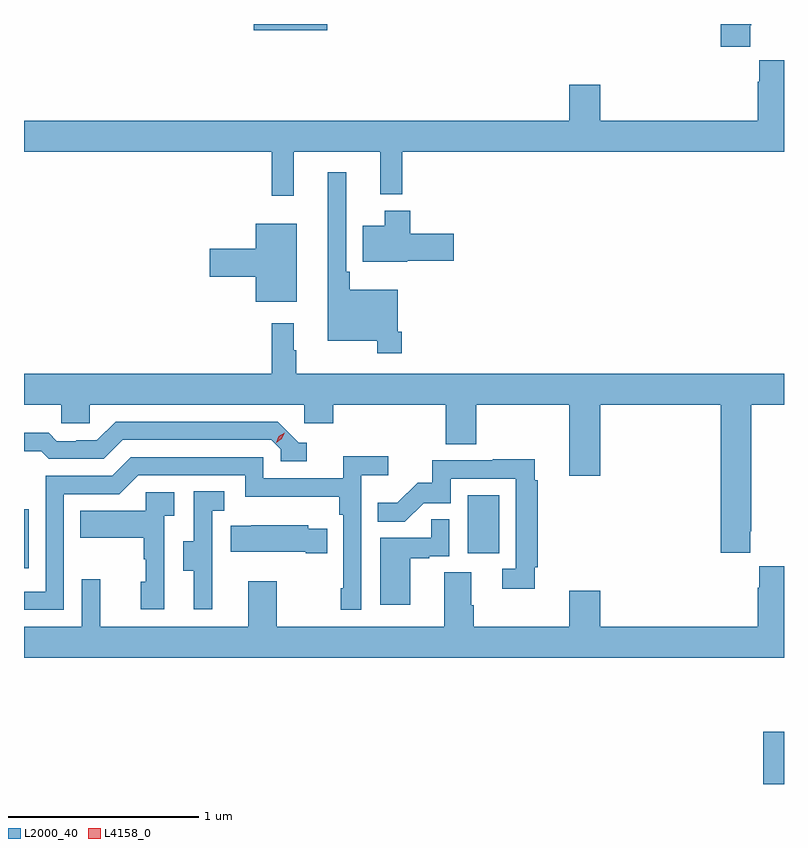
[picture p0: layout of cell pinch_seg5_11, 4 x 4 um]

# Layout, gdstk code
import gdstk
lib = gdstk.Library(unit=1e-6, precision=1e-09)
def R(c, l, rs):  # rectangles x0, y0, x1, y1
    for r in rs: c.add(gdstk.rectangle(r[:2], r[2:], *l))
def P(c, l, *ps):  # polygons
    for p in ps: c.add(gdstk.Polygon(p, *l))
L2000_40 = (2000, 40)
L4158_0 = (4158, 0)

pinch_seg5_11 = lib.new_cell('pinch_seg5_11')
R(pinch_seg5_11, L2000_40, [(1137.056,906.712,1137.166,906.988), (1133.166,907.848,1133.19,908.158), (1135.502,907.926,1135.666,908.233), (1134.374,910.678,1134.763,910.712)])
P(pinch_seg5_11, L2000_40, [(1136.989,910.705),(1136.994,910.705),(1136.994,910.712),(1136.834,910.712),(1136.834,910.593),(1136.989,910.593)],
  [(1134.587,910.04),(1135.04,910.04),(1135.04,909.815),(1135.157,909.815),(1135.157,910.04),(1137.166,910.04),(1137.166,910.522),(1137.035,910.522),(1137.035,910.409),(1137.029,910.409),(1137.029,910.204),(1136.2,910.204),(1136.2,910.393),(1136.036,910.393),(1136.036,910.204),(1133.166,910.204),(1133.166,910.04),(1134.469,910.04),(1134.469,909.807),(1134.587,909.807)],
  [(1135.154,909.091),(1135.134,909.091),(1135.134,909.313),(1134.881,909.313),(1134.881,909.409),(1134.861,909.409),(1134.861,909.931),(1134.764,909.931),(1134.764,909.044),(1135.026,909.044),(1135.026,908.979),(1135.154,908.979)],
  [(1135.182,909.467),(1135.429,909.467),(1135.429,909.609),(1135.199,909.609),(1135.199,909.73),(1135.064,909.73),(1135.064,909.649),(1134.95,909.649),(1134.95,909.461),(1135.182,909.461)],
  [(1134.601,909.661),(1134.386,909.661),(1134.386,909.53),(1134.144,909.53),(1134.144,909.383),(1134.386,909.383),(1134.386,909.251),(1134.601,909.251)],
  [(1134.598,908.996),(1134.586,908.996),(1134.586,909.136),(1134.469,909.136),(1134.469,908.872),(1133.166,908.872),(1133.166,908.708),(1133.361,908.708),(1133.361,908.61),(1133.511,908.61),(1133.511,908.708),(1134.642,908.708),(1134.642,908.61),(1134.794,908.61),(1134.794,908.708),(1135.385,908.708),(1135.385,908.5),(1135.545,908.5),(1135.545,908.708),(1136.036,908.708),(1136.036,908.334),(1136.2,908.334),(1136.2,908.708),(1136.834,908.708),(1136.834,907.929),(1136.989,907.929),(1136.989,908.041),(1136.994,908.041),(1136.994,908.708),(1137.166,908.708),(1137.166,908.872),(1134.598,908.872)],
  [(1134.655,908.508),(1134.612,908.508),(1134.501,908.619),(1133.648,908.619),(1133.549,908.52),(1133.442,908.52),(1133.442,908.517),(1133.339,908.517),(1133.297,908.56),(1133.166,908.56),(1133.166,908.463),(1133.258,908.463),(1133.297,908.424),(1133.586,908.424),(1133.685,908.523),(1134.468,908.523),(1134.516,908.475),(1134.516,908.412),(1134.655,908.412)],
  [(1133.376,908.238),(1133.667,908.238),(1133.766,908.337),(1134.33,908.337),(1134.33,908.225),(1134.826,908.225),(1134.826,908.129),(1134.846,908.129),(1134.846,907.741),(1134.834,907.741),(1134.834,907.629),(1134.942,907.629),(1134.942,908.336),(1135.084,908.336),(1135.084,908.438),(1134.845,908.438),(1134.845,908.322),(1134.426,908.322),(1134.426,908.433),(1133.729,908.433),(1133.63,908.334),(1133.28,908.334),(1133.28,907.725),(1133.167,907.725),(1133.167,907.629),(1133.376,907.629)],
  [(1135.853,907.852),(1135.871,907.852),(1135.871,908.312),(1135.853,908.312),(1135.853,908.42),(1135.633,908.42),(1135.633,908.415),(1135.315,908.415),(1135.315,908.298),(1135.238,908.298),(1135.131,908.191),(1135.027,908.191),(1135.027,908.092),(1135.171,908.092),(1135.269,908.19),(1135.413,908.19),(1135.413,908.319),(1135.755,908.319),(1135.755,907.845),(1135.683,907.845),(1135.683,907.74),(1135.853,907.74)],
  [(1134.158,907.845),(1134.156,907.845),(1134.156,908.149),(1134.22,908.149),(1134.22,908.252),(1134.06,908.252),(1134.06,907.989),(1134.005,907.989),(1134.005,907.834),(1134.059,907.834),(1134.059,907.632),(1134.158,907.632)],
  [(1133.904,908.123),(1133.956,908.123),(1133.956,908.247),(1133.808,908.247),(1133.808,908.149),(1133.461,908.149),(1133.461,908.009),(1133.796,908.009),(1133.796,907.895),(1133.806,907.895),(1133.806,907.776),(1133.78,907.776),(1133.78,907.632),(1133.904,907.632)],
  [(1135.198,907.899),(1135.298,907.899),(1135.298,907.911),(1135.404,907.911),(1135.404,908.105),(1135.309,908.105),(1135.309,908.007),(1135.04,908.007),(1135.04,907.656),(1135.198,907.656)],
  [(1134.761,908.056),(1134.663,908.056),(1134.663,908.074),(1134.361,908.074),(1134.361,908.071),(1134.253,908.071),(1134.253,907.934),(1134.65,907.934),(1134.65,907.927),(1134.761,907.927)],
  [(1137.166,907.858),(1137.035,907.858),(1137.035,907.745),(1137.029,907.745),(1137.029,907.54),(1136.2,907.54),(1136.2,907.729),(1136.036,907.729),(1136.036,907.54),(1135.532,907.54),(1135.532,907.652),(1135.519,907.652),(1135.519,907.826),(1135.379,907.826),(1135.379,907.54),(1134.495,907.54),(1134.495,907.78),(1134.347,907.78),(1134.347,907.54),(1133.567,907.54),(1133.567,907.789),(1133.469,907.789),(1133.469,907.54),(1133.166,907.54),(1133.166,907.376),(1137.166,907.376)])
P(pinch_seg5_11, L4158_0, [(1134.493,908.508),(1134.493,908.509),(1134.508,908.542),(1134.538,908.562),(1134.538,908.562),(1134.538,908.561),(1134.523,908.529),(1134.493,908.508)])

lib.write_gds('pinch_seg5_11.gds')
